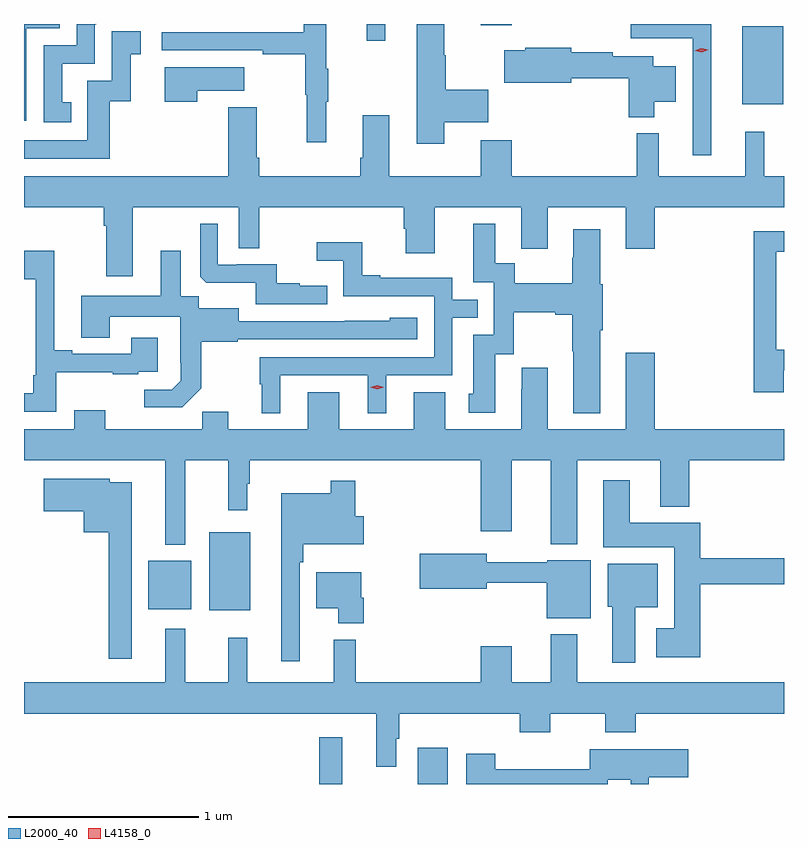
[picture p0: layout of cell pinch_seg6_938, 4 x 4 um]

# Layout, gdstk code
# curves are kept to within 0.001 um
import gdstk
lib = gdstk.Library(unit=1e-6, precision=1e-09)
def R(c, l, rs):  # rectangles x0, y0, x1, y1
    for r in rs: c.add(gdstk.rectangle(r[:2], r[2:], *l))
def P(c, l, *ps):  # polygons
    for p in ps: c.add(gdstk.Polygon(p, *l))
L2000_40 = (2000, 40)
L4158_0 = (4158, 0)

pinch_seg6_938 = lib.new_cell('pinch_seg6_938')
R(pinch_seg6_938, L2000_40, [(248.076,944.301,248.197,944.548), (248.594,944.301,248.752,944.491), (247.496,945.215,247.711,945.625), (247.175,945.221,247.402,945.475), (250.301,947.879,250.516,948.289), (248.325,948.213,248.422,948.301), (248.924,948.294,249.088,948.301)])
P(pinch_seg6_938, L2000_40, [(250.138,948.301),(249.714,948.301),(249.714,948.227),(250.041,948.227),(250.041,947.61),(250.138,947.61)],
  [(246.77,947.889),(246.721,947.889),(246.721,948.093),(246.894,948.093),(246.894,948.294),(246.901,948.301),(246.798,948.301),(246.798,948.189),(246.624,948.189),(246.624,947.784),(246.77,947.784)],
  [(246.534,948.279),(246.708,948.279),(246.708,948.301),(246.521,948.301),(246.521,947.793),(246.534,947.793)],
  [(248.734,947.783),(248.965,947.783),(248.965,947.954),(248.742,947.954),(248.742,948.137),(248.734,948.137),(248.734,948.301),(248.588,948.301),(248.588,947.67),(248.734,947.67)],
  [(248.111,947.891),(248.122,947.891),(248.122,948.065),(248.111,948.065),(248.111,948.301),(247.993,948.301),(247.993,948.258),(247.245,948.258),(247.245,948.162),(247.777,948.162),(247.777,948.142),(248.001,948.142),(248.001,947.928),(248.008,947.928),(248.008,947.679),(248.111,947.679)],
  [(246.971,947.895),(247.082,947.895),(247.082,948.141),(247.135,948.141),(247.135,948.262),(246.984,948.262),(246.984,948.003),(246.855,948.003),(246.855,947.688),(246.521,947.688),(246.521,947.592),(246.971,947.592)],
  [(249.838,947.891),(249.952,947.891),(249.952,948.079),(249.832,948.079),(249.832,948.132),(249.62,948.132),(249.62,948.152),(249.4,948.152),(249.4,948.176),(249.16,948.176),(249.16,948.163),(249.048,948.163),(249.048,947.993),(249.4,947.993),(249.4,948.016),(249.704,948.016),(249.704,947.81),(249.838,947.81)],
  [(247.433,947.951),(247.681,947.951),(247.681,948.073),(247.262,948.073),(247.262,947.892),(247.433,947.892)],
  [(247.093,947.336),(247.65,947.336),(247.65,947.122),(247.759,947.122),(247.759,947.336),(248.519,947.336),(248.519,947.223),(248.531,947.223),(248.531,947.094),(248.683,947.094),(248.683,947.336),(249.137,947.336),(249.137,947.118),(249.277,947.118),(249.277,947.336),(249.689,947.336),(249.689,947.118),(249.842,947.118),(249.842,947.336),(250.521,947.336),(250.521,947.5),(250.416,947.5),(250.416,947.734),(250.316,947.734),(250.316,947.5),(249.863,947.5),(249.863,947.725),(249.745,947.725),(249.745,947.5),(249.088,947.5),(249.088,947.689),(248.924,947.689),(248.924,947.5),(248.443,947.5),(248.443,947.821),(248.303,947.821),(248.303,947.596),(248.291,947.596),(248.291,947.5),(247.76,947.5),(247.76,947.596),(247.747,947.596),(247.747,947.863),(247.595,947.863),(247.595,947.5),(246.521,947.5),(246.521,947.336),(246.941,947.336),(246.941,947.24),(246.953,947.24),(246.953,946.974),(247.093,946.974)],
  [(249.553,946.688),(249.566,946.688),(249.566,946.932),(249.553,946.932),(249.553,947.221),(249.413,947.221),(249.413,947.07),(249.406,947.07),(249.406,946.936),(249.103,946.936),(249.103,947.042),(249.001,947.042),(249.001,947.251),(248.885,947.251),(248.885,946.941),(248.994,946.941),(248.994,946.665),(248.885,946.665),(248.885,946.356),(248.861,946.356),(248.861,946.254),(249.001,946.254),(249.001,946.562),(249.099,946.562),(249.099,946.784),(249.317,946.784),(249.317,946.772),(249.406,946.772),(249.406,946.579),(249.413,946.579),(249.413,946.253),(249.553,946.253)],
  [(248.117,946.924),(247.973,946.924),(247.973,946.936),(247.85,946.936),(247.85,947.037),(247.642,947.037),(247.642,947.034),(247.542,947.034),(247.542,947.251),(247.449,947.251),(247.449,946.971),(247.481,946.94),(247.74,946.94),(247.74,946.827),(248.117,946.827)],
  [(250.519,946.479),(250.521,946.479),(250.521,946.587),(250.479,946.587),(250.479,947.103),(250.521,947.103),(250.521,947.209),(250.363,947.209),(250.363,946.362),(250.519,946.362)],
  [(247.87,946.452),(248.33,946.452),(248.33,946.253),(248.428,946.253),(248.428,946.452),(248.775,946.452),(248.775,946.755),(248.909,946.755),(248.909,946.851),(248.775,946.851),(248.775,946.965),(248.395,946.965),(248.395,946.978),(248.301,946.978),(248.301,947.153),(248.061,947.153),(248.061,947.054),(248.202,947.054),(248.202,946.869),(248.679,946.869),(248.679,946.548),(247.761,946.548),(247.761,946.404),(247.772,946.404),(247.772,946.253),(247.87,946.253)],
  [(247.455,946.383),(247.455,946.629),(247.647,946.629),(247.647,946.641),(248.59,946.641),(248.59,946.756),(248.445,946.756),(248.445,946.738),(247.651,946.737),(247.651,946.804),(247.44,946.804),(247.44,946.868),(247.345,946.868),(247.345,947.107),(247.241,947.107),(247.241,946.87),(246.821,946.87),(246.821,946.651),(246.973,946.651),(246.973,946.76),(247.344,946.76),(247.344,946.519),(247.346,946.519),(247.346,946.424),(247.299,946.377),(247.155,946.377),(247.155,946.283),(247.355,946.283)],
  [(246.691,946.469),(246.989,946.469),(246.989,946.458),(247.121,946.458),(247.121,946.47),(247.225,946.47),(247.225,946.651),(247.085,946.651),(247.085,946.566),(246.775,946.566),(246.775,946.585),(246.679,946.585),(246.679,947.107),(246.521,947.107),(246.521,946.958),(246.582,946.958),(246.582,946.453),(246.57,946.453),(246.57,946.357),(246.521,946.357),(246.521,946.26),(246.691,946.26)],
  [(249.842,946.57),(249.689,946.57),(249.689,946.168),(249.277,946.168),(249.277,946.492),(249.14,946.492),(249.14,946.379),(249.137,946.379),(249.137,946.168),(248.737,946.168),(248.737,946.363),(248.573,946.363),(248.573,946.168),(248.179,946.168),(248.179,946.363),(248.015,946.363),(248.015,946.168),(247.597,946.168),(247.597,946.259),(247.459,946.259),(247.459,946.168),(246.949,946.168),(246.949,946.267),(246.785,946.267),(246.785,946.168),(246.521,946.168),(246.521,946.004),(247.265,946.004),(247.265,945.56),(247.369,945.56),(247.369,946.004),(247.597,946.004),(247.597,945.741),(247.696,945.741),(247.696,945.881),(247.708,945.881),(247.708,946.004),(248.924,946.004),(248.924,945.63),(249.088,945.63),(249.088,946.004),(249.293,946.004),(249.293,945.563),(249.433,945.563),(249.433,946.004),(249.869,946.004),(249.869,945.761),(250.022,945.761),(250.022,946.004),(250.521,946.004),(250.521,946.168),(249.842,946.168)],
  [(247.087,945.889),(246.972,945.889),(246.972,945.907),(246.624,945.907),(246.624,945.737),(246.836,945.737),(246.836,945.626),(246.966,945.626),(246.966,944.961),(247.087,944.961)],
  [(250.079,945.352),(250.521,945.352),(250.521,945.488),(250.079,945.488),(250.079,945.676),(249.709,945.676),(249.709,945.901),(249.569,945.901),(249.569,945.548),(249.944,945.548),(249.944,945.121),(249.849,945.121),(249.849,944.969),(250.079,944.969)],
  [(247.971,945.467),(247.991,945.467),(247.991,945.563),(248.308,945.563),(248.308,945.711),(248.264,945.711),(248.264,945.898),(248.136,945.898),(248.136,945.832),(247.874,945.832),(247.874,944.946),(247.971,944.946)],
  [(249.505,945.478),(249.276,945.478),(249.276,945.469),(248.956,945.469),(248.956,945.512),(248.604,945.512),(248.604,945.329),(248.956,945.329),(248.956,945.36),(249.272,945.36),(249.272,945.173),(249.505,945.173)],
  [(249.739,945.23),(249.856,945.23),(249.856,945.46),(249.593,945.46),(249.593,945.234),(249.617,945.234),(249.617,944.94),(249.739,944.94)],
  [(248.309,945.282),(248.296,945.282),(248.296,945.415),(248.06,945.415),(248.06,945.227),(248.174,945.227),(248.174,945.146),(248.309,945.146)],
  [(248.479,944.54),(248.497,944.54),(248.497,944.672),(249.131,944.672),(249.131,944.573),(249.291,944.573),(249.291,944.672),(249.58,944.672),(249.58,944.573),(249.74,944.573),(249.74,944.672),(250.521,944.672),(250.521,944.836),(249.433,944.836),(249.433,945.088),(249.293,945.088),(249.293,944.836),(249.088,944.836),(249.088,945.025),(248.924,945.025),(248.924,944.836),(248.267,944.836),(248.267,945.061),(248.15,945.061),(248.15,944.836),(247.697,944.836),(247.697,945.07),(247.597,945.07),(247.597,944.836),(247.369,944.836),(247.369,945.118),(247.265,945.118),(247.265,944.836),(246.521,944.836),(246.521,944.672),(248.375,944.672),(248.375,944.391),(248.479,944.391)],
  [(249.594,944.324),(249.714,944.324),(249.714,944.301),(249.81,944.301),(249.81,944.336),(250.018,944.336),(250.018,944.485),(249.498,944.485),(249.498,944.378),(249.002,944.378),(249.002,944.461),(248.849,944.461),(248.849,944.301),(249.594,944.301)])
P(pinch_seg6_938, L4158_0, [(250.087,948.153),(250.051,948.161),(250.051,948.161),(250.051,948.161),(250.086,948.173),(250.122,948.165),(250.122,948.165),(250.122,948.165)],
  [(248.379,946.379),(248.343,946.389),(248.343,946.389),(248.343,946.389),(248.379,946.399),(248.415,946.389),(248.415,946.389),(248.415,946.389)])

lib.write_gds('pinch_seg6_938.gds')
